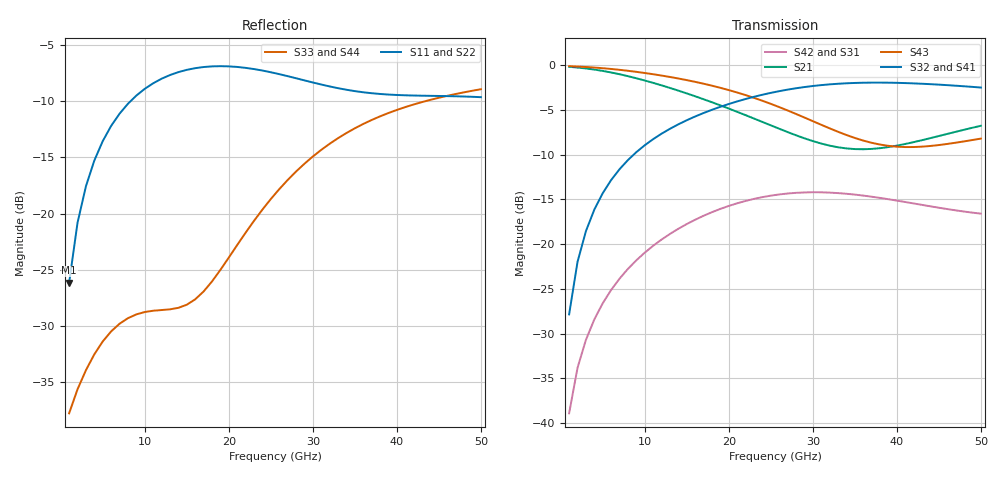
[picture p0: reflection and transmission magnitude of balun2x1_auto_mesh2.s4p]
! Created with skrf 2.1.0 (http://scikit-rf.org).
# GHz S DB R 50.0
! Port[1] = P1
! Port[2] = P2
! Port[3] = P3
! Port[4] = P4
!freq dBS11 angS11 dBS12 angS12 dBS13 angS13
! dBS14 angS14
! dBS21 angS21 dBS22 angS22 dBS23 angS23
! dBS24 angS24
! dBS31 angS31 dBS32 angS32 dBS33 angS33
! dBS34 angS34
! dBS41 angS41 dBS42 angS42 dBS43 angS43
! dBS44 angS44
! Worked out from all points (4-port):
!   50 points, 1 GHz to 50 GHz, reference 50 ohm
!   strongest paths, dB at 1 GHz, 13 GHz, 26 GHz, 38 GHz, 50 GHz:
!     S32: -27.9, -7.1, -2.9, -1.9, -2.5
!     S41: -27.9, -7.1, -2.9, -2.0, -2.5
!     S43: -0.1, -1.3, -4.7, -8.9, -8.2
!     S21: -0.2, -2.5, -7.1, -9.3, -6.8
!     S42: -38.9, -18.9, -14.5, -14.8, -16.6
!     S31: -38.9, -18.9, -14.6, -15.1, -16.8
!   lowest |S11| = -26.2 dB at 1 GHz (marker M1), VSWR 1.10, Z = 51.9 + j4.64 ohm
!   |S11| at or under -10 dB: start of sweep to 8.287 GHz
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1  -26.17 65.2  -0.18 -5.3  -38.92 -109.4  -27.86 84.5
   -0.18 -5.3  -26.17 65.2  -27.86 84.4  -38.92 -109.5
   -38.92 -109.4  -27.86 84.4  -37.82 24.4  -0.11 -2.6
   -27.86 84.5  -38.92 -109.5  -0.11 -2.6  -37.82 24.4
4  -15.27 62.6  -0.49 -19.7  -28.43 -133.9  -16.14 73.6
   -0.49 -19.7  -15.28 62.4  -16.14 73.6  -28.42 -134.2
   -28.43 -133.9  -16.14 73.6  -32.55 29.5  -0.27 -9.7
   -16.14 73.6  -28.42 -134.2  -0.27 -9.7  -32.56 29.2
9  -9.48 40.9  -1.46 -42.7  -21.85 -175.2  -9.72 56.0
   -1.46 -42.7  -9.49 40.4  -9.72 55.9  -21.81 -175.9
   -21.85 -175.2  -9.72 55.9  -28.99 1.0  -0.75 -20.8
   -9.72 56.0  -21.81 -175.9  -0.75 -20.8  -28.97 0.4
18  -6.88 6.2  -4.15 -82.6  -16.53 119.7  -4.99 28.7
    -4.15 -82.6  -6.92 5.2  -4.99 28.6  -16.43 118.6
    -16.53 119.7  -4.99 28.6  -26.06 -107.7  -2.29 -38.8
    -4.99 28.7  -16.43 118.6  -2.29 -38.8  -25.82 -108.5
28  -7.93 -18.6  -7.84 -138.2  -14.45 61.4  -2.60 0.0
    -7.84 -138.2  -8.09 -20.2  -2.58 -0.1  -14.27 59.6
    -14.45 61.4  -2.58 -0.1  -16.26 167.7  -5.45 -52.5
    -2.60 0.0  -14.27 59.6  -5.45 -52.5  -16.06 167.6
37  -9.27 -26.2  -9.36 155.9  -14.94 22.3  -1.98 -24.8
    -9.36 155.9  -9.60 -27.5  -1.95 -25.1  -14.70 19.7
    -14.94 22.3  -1.95 -25.1  -11.66 126.3  -8.68 -46.4
    -1.98 -24.8  -14.70 19.7  -8.68 -46.4  -11.48 126.1
50  -9.62 -37.7  -6.77 87.6  -16.77 -7.3  -2.54 -54.1
    -6.77 87.6  -9.98 -38.1  -2.50 -54.6  -16.60 -11.8
    -16.77 -7.3  -2.50 -54.6  -8.91 89.2  -8.21 -29.3
    -2.54 -54.1  -16.60 -11.8  -8.21 -29.3  -8.75 88.6
